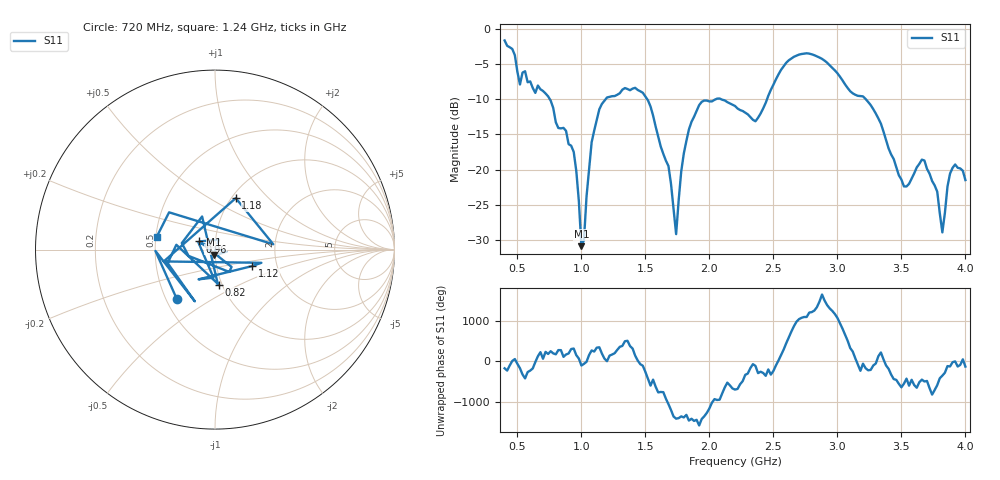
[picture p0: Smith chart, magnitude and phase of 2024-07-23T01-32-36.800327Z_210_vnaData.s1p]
!Created with skrf (http://scikit-rf.org).
# Hz S RI R 50.0
!freq ReS11 ImS11
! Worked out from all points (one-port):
!   181 points, 400 MHz to 4 GHz, reference 50 ohm
!   lowest |S11| = -30.9 dB at 1 GHz (marker M1), VSWR 1.06, Z = 49.4 - j2.76 ohm
!   |S11| at or under -10 dB: 753.9 MHz to 1.188 GHz (434.6 MHz wide, 44.8 % of centre); 1.515 GHz to 2.048 GHz (533.7 MHz wide, 30 % of centre); 3.223 GHz to end of sweep (the widest 3 of 4)
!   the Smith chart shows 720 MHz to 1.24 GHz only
!   S11 on the Smith chart (normalised r, x): 720 MHz: 0.57, -0.36; 820 MHz: 0.97, -0.39; 960 MHz: 0.84, +0.08; 1.12 GHz: 1.49, -0.29; 1.18 GHz: 1.05, +0.66; 1.24 GHz: 0.50, +0.08
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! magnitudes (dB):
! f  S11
! 400 MHz  -1.6
! 520 MHz  -7.9
! 720 MHz  -9.2
! 820 MHz  -14.1
! 860 MHz  -14.1
! 960 MHz  -20.2
! 1 GHz  -30.9
! 1.08 GHz  -16.1
! 1.12 GHz  -12.9
! 1.18 GHz  -10.2
! 1.24 GHz  -9.6
! 1.3 GHz  -9.1
! 1.52 GHz  -10.1
! 1.68 GHz  -19.5
! 1.74 GHz  -29.2
! 1.76 GHz  -24.4
! 1.82 GHz  -15.9
! 1.92 GHz  -10.8
! 2.2 GHz  -10.9
! 2.36 GHz  -13.1
! 2.66 GHz  -3.9
! 3.1 GHz  -8.8
! 3.56 GHz  -22.0
! 3.68 GHz  -18.7
! 3.78 GHz  -23.1
! 3.82 GHz  -29.0
! 3.88 GHz  -20.6
! 4 GHz  -21.5
